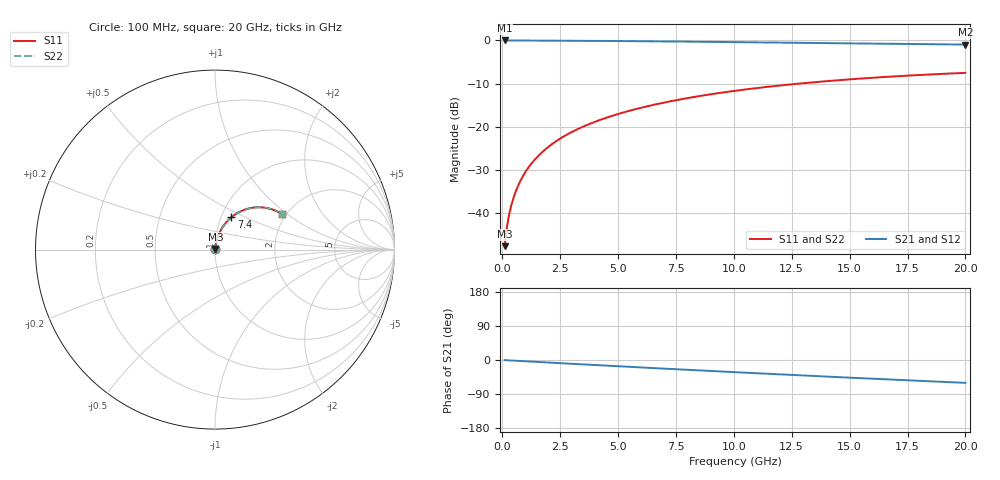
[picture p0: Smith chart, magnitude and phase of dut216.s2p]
! Touchstone file exported from HFSS 2026.1.0
!  File:  C:/ffzhzh/LocalFiles/Ansys_Project_Files/temp_train_BSMRDL_216_1782987967_41620.aedt
!  Generated:  06:27:31 PM Jul  2, 2026
!  Design:  BSMRDL
!  Project:  temp_train_BSMRDL_216_1782987967_41620
! Variables:
!  h_bsmrdl = 5.92um
!  h_ox = 20um
!  h_rdl = 5um
!  h_sub = 80um
!  h_tmrdl = 5um
!  h_tsv = 80um
!  h_via = 3um
!  l_bsmrdl = 991.95um
!  l_sub = 1391.95um
!  l_tmrdl = 200um
!  m_sub = 200um
!  pitch = 49.83um
!  r_tsv = 6um
!  s_tmrdl = 10um
!  w_bsmrdl = 25.04um
!  w_sub = 500um
!  w_tmrdl = 12um
!  x_tsv_center1 = 206um
!  x_tsv_center2 = 1222.99um
!  x_tsv_center3 = 1434.99um
!  x_tsv_center4 = 2451.98um
!  x_tsv_center5 = 2663.98um
!  x_tsv_center6 = 3680.97um
# GHz S MA R 50.000000
! Terminal data exported
! Port[1] = BSM_RDL1_1_T1
! Port[2] = BSM_RDL1_1_T2
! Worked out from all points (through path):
!   200 points, 100 MHz to 20 GHz, reference 50 ohm
!   highest |S21| = -0.02 dB at 100 MHz (marker M1); lowest = -1.0 dB at 20 GHz (marker M2)
!   group delay of S21, straight-line fit = 8.37 ps
!   lowest |S11| = -47.6 dB at 100 MHz (marker M3), VSWR 1.01, Z = 50.3 + j0.329 ohm
!   |S11| at or under -10 dB: start of sweep to 12.8 GHz
!   |S22| runs from -47.6 to -7.5 dB; largest |S21 - S12| = 5.1e-15
!   S11 on the Smith chart (normalised r, x): 100 MHz: 1.01, +0.01; 7.4 GHz: 1.12, +0.42; 20 GHz: 1.89, +0.91
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0.1  0.004187 51.3  0.9974 -0.4  0.9974 -0.4  0.004187 51.3
! Gamma 0 0 0 0
! Port Impedance 50 0 50 0
0.2  0.006987 65.4  0.9972 -0.7  0.9972 -0.7  0.006987 65.4
0.3  0.009846 71.1  0.997 -1.0  0.997 -1.0  0.009846 71.1
0.4  0.01271 74.3  0.9968 -1.4  0.9968 -1.4  0.01271 74.3
0.5  0.01559 76.2  0.9967 -1.7  0.9967 -1.7  0.01559 76.2
0.7  0.0214 78.4  0.9964 -2.4  0.9964 -2.4  0.0214 78.4
0.8  0.02431 79.0  0.9963 -2.7  0.9963 -2.7  0.02431 79.0
1  0.03015 79.6  0.9959 -3.4  0.9959 -3.4  0.03015 79.6
1.2  0.03598 79.8  0.9956 -4.1  0.9956 -4.1  0.03599 79.8
1.4  0.04181 79.8  0.9952 -4.7  0.9952 -4.7  0.04181 79.7
1.7  0.05049 79.3  0.9944 -5.7  0.9944 -5.7  0.05049 79.3
2  0.05911 78.7  0.9936 -6.7  0.9936 -6.7  0.05911 78.7
2.7  0.0789 77.0  0.9914 -9.0  0.9914 -9.0  0.0789 77.0
3.5  0.101 74.7  0.9885 -11.6  0.9885 -11.6  0.101 74.7
4.2  0.1199 72.7  0.9856 -13.9  0.9856 -13.9  0.1199 72.7
5  0.1409 70.3  0.9821 -16.5  0.9821 -16.5  0.1409 70.3
6.8  0.1864 65.0  0.9732 -22.2  0.9732 -22.2  0.1864 65.0
7.4  0.201 63.2  0.97 -24.0  0.97 -24.0  0.201 63.2
10.1  0.2623 55.4  0.9541 -32.3  0.9541 -32.3  0.2623 55.4
13.4  0.3271 46.0  0.9332 -42.0  0.9332 -42.0  0.3272 45.9
16.7  0.3801 36.9  0.9126 -51.4  0.9126 -51.4  0.3801 36.9
20  0.4212 28.2  0.8943 -60.3  0.8943 -60.3  0.4212 28.1
